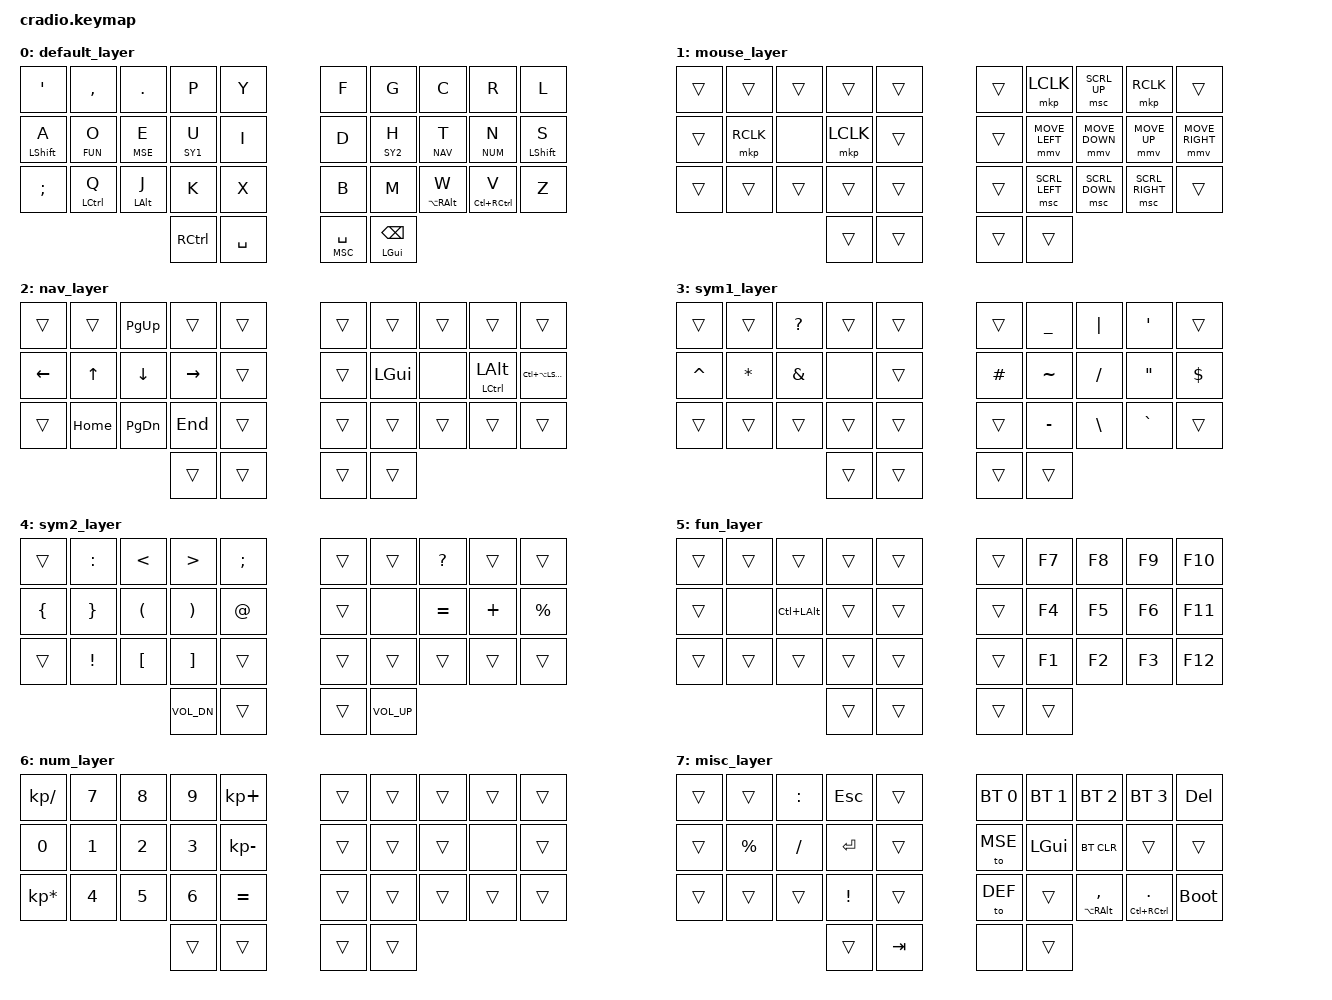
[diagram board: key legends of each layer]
/*
 * Translated from Vial layout (Ferris Sweep) to ZMK
 * Layers: 0=default 1=mouse 2=nav 3=sym1 4=sym2 5=fkeys 6=numpad 7=misc
 */

#undef ZMK_BEHAVIORS_KEEP_ALL

#include <behaviors.dtsi>
#include <dt-bindings/zmk/keys.h>
#include <dt-bindings/zmk/bt.h>
#include <dt-bindings/zmk/pointing.h>

#define DEF 0
#define MSE 1
#define NAV 2
#define SY1 3
#define SY2 4
#define FUN 5
#define NUM 6
#define MSC 7

&lt {
    quick-tap-ms = <175>;
    require-prior-idle-ms = <125>;
    tapping-term-ms = <200>;
};
&mt {
    flavor = "balanced";
    quick-tap-ms = <175>;
    require-prior-idle-ms = <125>;
    tapping-term-ms = <280>;
};

/ {
    behaviors {
        hm: homerow_mods {
            compatible = "zmk,behavior-hold-tap";
            #binding-cells = <2>;
            flavor = "balanced";
            require-prior-idle-ms = <125>;
            tapping-term-ms = <280>;
            quick-tap-ms = <175>;
            bindings = <&kp>, <&kp>;
        };
    };

    keymap {
        compatible = "zmk,keymap";

        default_layer {
            bindings = <
                &kp SQT      &kp COMMA    &kp DOT       &kp P         &kp Y           &kp F        &kp G            &kp C             &kp R             &kp L
                &hm LSHFT A  &lt FUN O    &lt MSE E     &lt SY1 U     &kp I           &kp D        &lt SY2 H        &lt NAV T         &lt NUM N         &hm LSHFT S
                &kp SEMI     &hm LCTRL Q  &hm LALT J    &kp K         &kp X           &kp B        &kp M            &mt LA(RALT) W    &mt LC(RCTRL) V   &kp Z
                                                       &kp RCTRL     &kp SPACE       &lt MSC SPACE &mt LGUI BSPC
            >;
        };

        mouse_layer {
            bindings = <
                &trans       &trans       &trans        &trans        &trans          &trans       &mkp LCLK        &msc SCRL_UP      &mkp RCLK         &trans
                &trans       &mkp RCLK    &none         &mkp LCLK     &trans          &trans       &mmv MOVE_LEFT   &mmv MOVE_DOWN    &mmv MOVE_UP      &mmv MOVE_RIGHT
                &trans       &trans       &trans        &trans        &trans          &trans       &msc SCRL_LEFT   &msc SCRL_DOWN    &msc SCRL_RIGHT   &trans
                                                       &trans        &trans          &trans        &trans
            >;
        };

        nav_layer {
            bindings = <
                &trans       &trans       &kp PG_UP     &trans        &trans          &trans       &trans           &trans            &trans            &trans
                &kp LEFT     &kp UP       &kp DOWN      &kp RIGHT     &trans          &trans       &kp LGUI         &none             &mt LCTRL LALT    &kp LC(LA(LSHFT))
                &trans       &kp HOME     &kp PG_DN     &kp END       &trans          &trans       &trans           &trans            &trans            &trans
                                                       &trans        &trans          &trans        &trans
            >;
        };

        sym1_layer {
            bindings = <
                &trans       &trans       &kp QMARK     &trans        &trans          &trans       &kp UNDER        &kp PIPE          &kp SQT           &trans
                &kp CARET    &kp ASTRK    &kp AMPS      &none         &trans          &kp HASH     &kp TILDE        &kp FSLH          &kp DQT           &kp DLLR
                &trans       &trans       &trans        &trans        &trans          &trans       &kp MINUS        &kp BSLH          &kp GRAVE         &trans
                                                       &trans        &trans          &trans        &trans
            >;
        };

        sym2_layer {
            bindings = <
                &trans       &kp COLON    &kp LT        &kp GT        &kp SEMI        &trans       &trans           &kp QMARK         &trans            &trans
                &kp LBRC     &kp RBRC     &kp LPAR      &kp RPAR      &kp AT          &trans       &none            &kp EQUAL         &kp PLUS          &kp PRCNT
                &trans       &kp EXCL     &kp LBKT     &kp RBKT       &trans          &trans       &trans           &trans            &trans            &trans
                                                       &kp C_VOL_DN  &trans          &trans        &kp C_VOL_UP
            >;
        };

        fun_layer {
            bindings = <
                &trans       &trans       &trans        &trans        &trans          &trans       &kp F7           &kp F8            &kp F9            &kp F10
                &trans       &none        &kp LC(LALT)  &trans        &trans          &trans       &kp F4           &kp F5            &kp F6            &kp F11
                &trans       &trans       &trans        &trans        &trans          &trans       &kp F1           &kp F2            &kp F3            &kp F12
                                                       &trans        &trans          &trans        &trans
            >;
        };

        num_layer {
            bindings = <
                &kp KP_SLASH &kp N7       &kp N8        &kp N9        &kp KP_PLUS     &trans       &trans           &trans            &trans            &trans
                &kp N0       &kp N1       &kp N2        &kp N3        &kp KP_MINUS    &trans       &trans           &trans            &none             &trans
                &kp KP_ASTERISK &kp N4    &kp N5        &kp N6        &kp EQUAL       &trans       &trans           &trans            &trans            &trans
                                                       &trans        &trans          &trans        &trans
            >;
        };

        misc_layer {
            bindings = <
                &trans       &trans       &kp COLON     &kp ESC       &trans          &bt BT_SEL 0 &bt BT_SEL 1     &bt BT_SEL 2      &bt BT_SEL 3      &kp DEL
                &trans       &kp PRCNT    &kp FSLH      &kp ENTER     &trans          &to MSE      &kp LGUI         &bt BT_CLR        &trans            &trans
                &trans       &trans       &trans        &kp EXCL      &trans          &to DEF      &trans           &mt LA(RALT) COMMA &mt LC(RCTRL) DOT &bootloader
                                                       &trans        &kp TAB         &none         &trans
            >;
        };
    };
};
